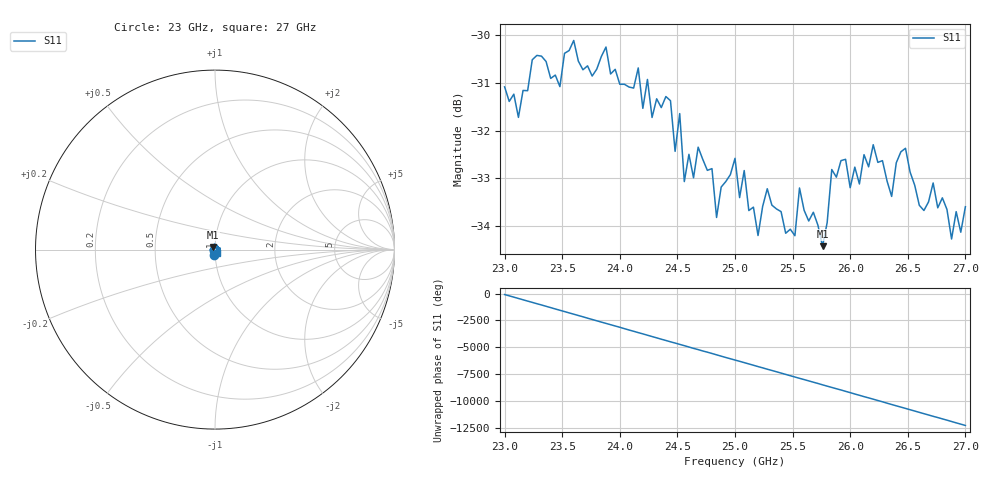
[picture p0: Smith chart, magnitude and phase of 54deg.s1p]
#  HZ  S  RI  R  50.00
! Rohde & Schwarz ZVA40 4Ports - Version 3.90 - 1145.1110k42 SN: 100403
! Date: 2023-09-26 10:56:51
! Measurement: S12
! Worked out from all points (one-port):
!   101 points, 23 GHz to 27 GHz, reference 50 ohm
!   lowest |S11| = -34.4 dB at 25.76 GHz (marker M1), VSWR 1.04, Z = 48.8 + j1.47 ohm
!   |S11| at or under -10 dB: start of sweep to end of sweep
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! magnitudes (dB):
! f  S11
! 23 GHz  -31.1
! 23.12 GHz  -31.7
! 23.24 GHz  -30.5
! 23.48 GHz  -31.1
! 23.52 GHz  -30.4
! 23.88 GHz  -30.2
! 24 GHz  -31.0
! 24.44 GHz  -31.4
! 24.48 GHz  -32.4
! 24.52 GHz  -31.6
! 24.56 GHz  -33.1
! 24.68 GHz  -32.3
! 24.8 GHz  -32.8
! 24.84 GHz  -33.8
! 25 GHz  -32.6
! 25.2 GHz  -34.2
! 25.28 GHz  -33.2
! 25.52 GHz  -34.2
! 25.56 GHz  -33.2
! 25.76 GHz  -34.4
! 25.84 GHz  -32.8
! 26 GHz  -33.2
! 26.2 GHz  -32.3
! 26.36 GHz  -33.4
! 26.44 GHz  -32.4
! 26.52 GHz  -32.9
! 26.88 GHz  -34.3
! 27 GHz  -33.6
